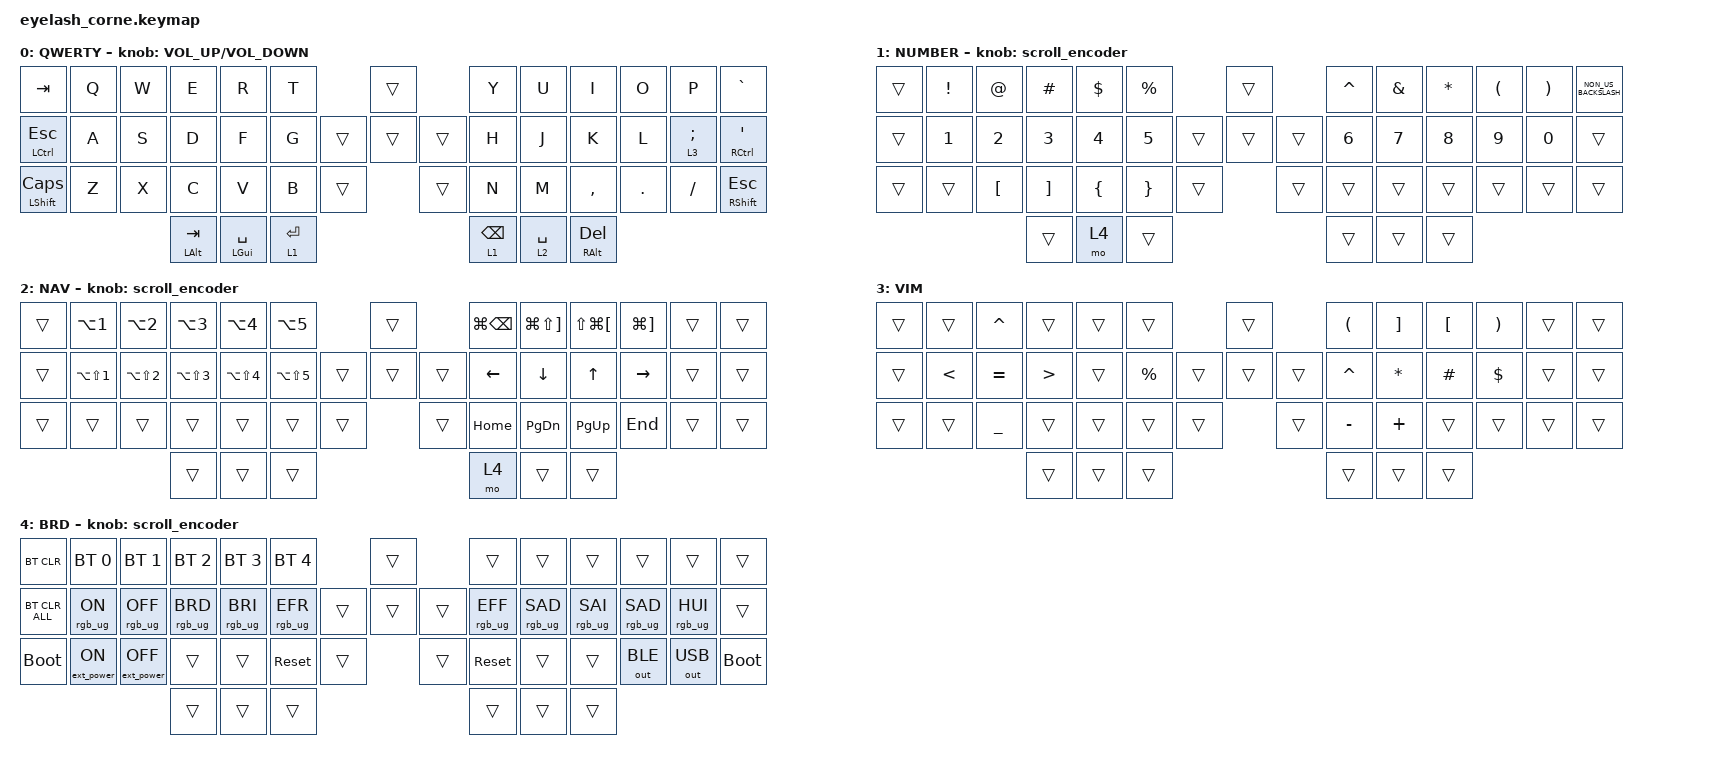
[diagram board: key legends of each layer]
#define ZMK_POINTING_DEFAULT_MOVE_VAL 1200  // 600
#define ZMK_POINTING_DEFAULT_SCRL_VAL 25   // 10

#include <input/processors.dtsi>
#include <zephyr/dt-bindings/input/input-event-codes.h>
#include <behaviors.dtsi>
#include <dt-bindings/zmk/bt.h>
#include <dt-bindings/zmk/ext_power.h>
#include <dt-bindings/zmk/keys.h>
#include <dt-bindings/zmk/outputs.h>
#include <dt-bindings/zmk/pointing.h>
#include <dt-bindings/zmk/rgb.h>

&mmv_input_listener { input-processors = <&zip_xy_scaler 2 1>; };

&msc_input_listener { input-processors = <&zip_scroll_scaler 2 1>; };

&msc {
    acceleration-exponent = <1>;      // 0
    time-to-max-speed-ms = <100>;       // 300
    delay-ms = <0>;                   // 0
};

&mmv {
    time-to-max-speed-ms = <500>;
    acceleration-exponent = <1>;
    trigger-period-ms = <16>;
};

&soft_off { hold-time-ms = <2000>; };

/ {
    behaviors {
        td0: td0 {
            compatible = "zmk,behavior-tap-dance";
            display-name = "Shift/Caps Lock Tap Dance";
            #binding-cells = <0>;
            bindings = <&kp LEFT_SHIFT>, <&kp CAPS>;
        };
    };

    rgb_encoder: rgb_encoder {
        compatible = "zmk,behavior-sensor-rotate";
        #sensor-binding-cells = <0>;
        bindings = <&rgb_ug RGB_BRI>, <&rgb_ug RGB_BRD>;
    };

    scroll_encoder: scroll_encoder {
        compatible = "zmk,behavior-sensor-rotate";
        #sensor-binding-cells = <0>;
        bindings = <&msc SCRL_DOWN>, <&msc SCRL_UP>;

        tap-ms = <100>;
    };

    combos {
        compatible = "zmk,combos";

        softoff {
            bindings = <&soft_off>;
            key-positions = <1 15 29>;
        };
    };

    keymap {
        compatible = "zmk,keymap";

        default_layer {
            display-name = "QWERTY";
            bindings = <
&kp TAB              &kp Q  &kp W  &kp E             &kp R               &kp T                          &trans          &kp Y            &kp U        &kp I                 &kp O    &kp P            &kp GRAVE
&mt LCTRL ESCAPE     &kp A  &kp S  &kp D             &kp F               &kp G                  &trans  &trans  &trans  &kp H            &kp J        &kp K                 &kp L    &lt 3 SEMICOLON  &mt RCTRL SQT
&mt LEFT_SHIFT CAPS  &kp Z  &kp X  &kp C             &kp V               &kp B        &trans            &trans          &kp N            &kp M        &kp COMMA             &kp DOT  &kp SLASH        &mt RIGHT_SHIFT ESCAPE
                                   &mt LEFT_ALT TAB  &mt LEFT_GUI SPACE  &lt 1 ENTER                                    &lt 1 BACKSPACE  &lt 2 SPACE  &mt RIGHT_ALT DELETE
            >;

            sensor-bindings = <&inc_dec_kp C_VOLUME_UP C_VOLUME_DOWN>;
        };

        layer_1 {
            display-name = "NUMBER";
            bindings = <
&trans  &kp EXCL  &kp AT        &kp HASH  &kp DLLR        &kp PERCENT                    &trans          &kp CARET  &kp AMPERSAND  &kp ASTERISK  &kp LEFT_PARENTHESIS  &kp RIGHT_PARENTHESIS  &kp NON_US_BACKSLASH
&trans  &kp N1    &kp NUMBER_2  &kp N3    &kp N4          &kp N5                 &trans  &trans  &trans  &kp N6     &kp N7         &kp N8        &kp N9                &kp N0                 &trans
&trans  &trans    &kp LBKT      &kp RBKT  &kp LEFT_BRACE  &kp RBRC     &trans            &trans          &trans     &trans         &trans        &trans                &trans                 &trans
                                &trans    &mo 4           &trans                                         &trans     &trans         &trans
            >;

            sensor-bindings = <&scroll_encoder>;
        };

        layer_2 {
            display-name = "NAV";
            bindings = <
&trans  &kp LA(NUMBER_1)  &kp LA(NUMBER_2)  &kp LA(N3)      &kp LA(N4)      &kp LA(N5)                        &trans          &kp LG(BACKSPACE)  &kp LG(LS(RIGHT_BRACKET))  &kp LS(LG(LEFT_BRACKET))  &kp LG(RIGHT_BRACKET)  &trans  &trans
&trans  &kp LA(LS(N1))    &kp LA(LS(N2))    &kp LA(LS(N3))  &kp LA(LS(N4))  &kp LA(LS(N5))            &trans  &trans  &trans  &kp LEFT_ARROW     &kp DOWN                   &kp UP                    &kp RIGHT              &trans  &trans
&trans  &trans            &trans            &trans          &trans          &trans          &trans            &trans          &kp HOME           &kp PAGE_DOWN              &kp PAGE_UP               &kp END                &trans  &trans
                                            &trans          &trans          &trans                                            &mo 4              &trans                     &trans
            >;

            sensor-bindings = <&scroll_encoder>;
        };

        layer_3 {
            bindings = <
&trans  &trans         &kp CARET       &trans            &trans  &trans                         &trans          &kp LEFT_PARENTHESIS  &kp RIGHT_BRACKET  &kp LEFT_BRACKET  &kp RIGHT_PARENTHESIS  &trans  &trans
&trans  &kp LESS_THAN  &kp EQUAL       &kp GREATER_THAN  &trans  &kp PERCENT            &trans  &trans  &trans  &kp CARET             &kp ASTRK          &kp POUND         &kp DOLLAR             &trans  &trans
&trans  &trans         &kp UNDERSCORE  &trans            &trans  &trans       &trans            &trans          &kp MINUS             &kp PLUS           &trans            &trans                 &trans  &trans
                                       &trans            &trans  &trans                                         &trans                &trans             &trans
            >;

            label = "VIM";
        };

        layer_4 {
            display-name = "BRD";
            bindings = <
&bt BT_CLR      &bt BT_SEL 0      &bt BT_SEL 1       &bt BT_SEL 2     &bt BT_SEL 3     &bt BT_SEL 4                       &trans          &trans           &trans           &trans           &trans           &trans           &trans
&bt BT_CLR_ALL  &rgb_ug RGB_ON    &rgb_ug RGB_OFF    &rgb_ug RGB_BRD  &rgb_ug RGB_BRI  &rgb_ug RGB_EFR            &trans  &trans  &trans  &rgb_ug RGB_EFF  &rgb_ug RGB_SAD  &rgb_ug RGB_SAI  &rgb_ug RGB_SAD  &rgb_ug RGB_HUI  &trans
&bootloader     &ext_power EP_ON  &ext_power EP_OFF  &trans           &trans           &sys_reset       &trans            &trans          &sys_reset       &trans           &trans           &out OUT_BLE     &out OUT_USB     &bootloader
                                                     &trans           &trans           &trans                                             &trans           &trans           &trans
            >;

            sensor-bindings = <&scroll_encoder>;
        };
    };
};
